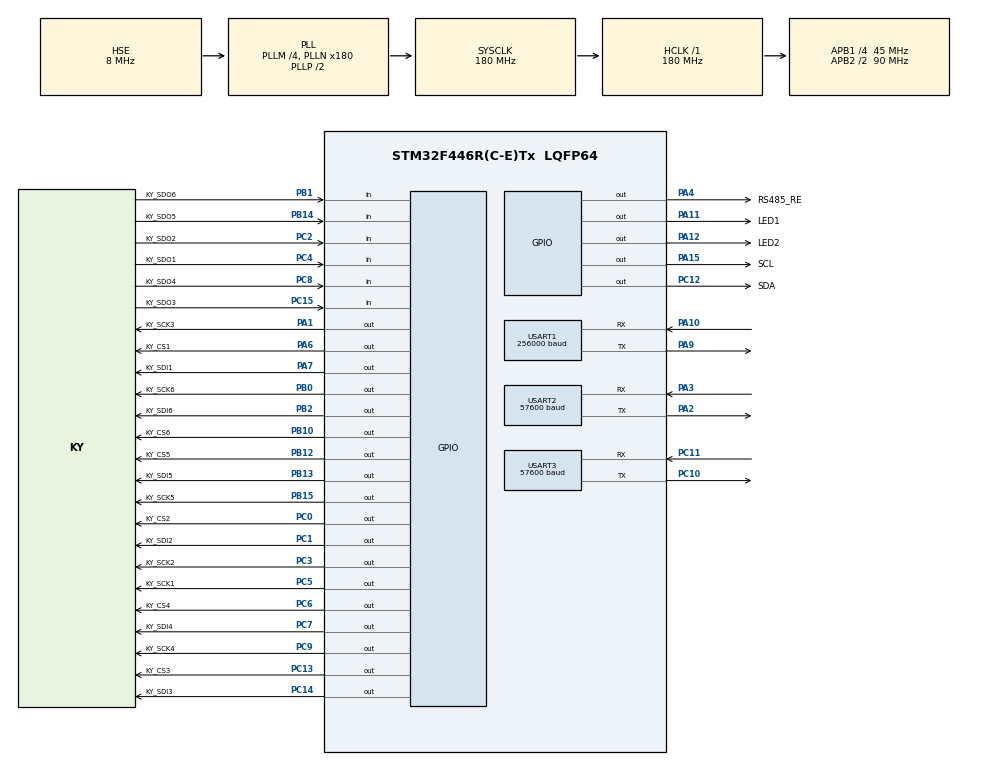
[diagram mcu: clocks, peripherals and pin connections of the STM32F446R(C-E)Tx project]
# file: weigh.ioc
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Mcu.Family=STM32F4
Mcu.Name=STM32F446R(C-E)Tx
Mcu.Package=LQFP64
NVIC.FPU_IRQn=true\:1\:0\:true\:false\:true\:true\:false\:true
NVIC.PriorityGroup=NVIC_PRIORITYGROUP_2
NVIC.TIM1_TRG_COM_TIM11_IRQn=true\:1\:2\:true\:false\:true\:true\:true\:true
NVIC.TIM1_UP_TIM10_IRQn=true\:1\:1\:true\:false\:true\:true\:true\:true
NVIC.TIM7_IRQn=true\:2\:2\:true\:false\:true\:true\:true\:true
NVIC.TIM8_TRG_COM_TIM14_IRQn=true\:3\:0\:true\:false\:true\:true\:true\:true
NVIC.TIM8_UP_TIM13_IRQn=true\:0\:3\:true\:false\:true\:true\:true\:true
NVIC.USART1_IRQn=true\:1\:0\:true\:false\:true\:true\:true\:true
NVIC.USART2_IRQn=true\:0\:2\:true\:false\:true\:true\:true\:true
NVIC.USART3_IRQn=true\:2\:2\:true\:false\:true\:true\:true\:true
PA1.GPIO_Label=KY_SCK3
PA1.GPIO_ModeDefaultOutputPP=GPIO_MODE_OUTPUT_PP
PA1.GPIO_PuPd=GPIO_PULLUP
PA1.GPIO_Speed=GPIO_SPEED_FREQ_VERY_HIGH
PA1.PinState=GPIO_PIN_SET
PA1.Signal=GPIO_Output
PA10.Mode=Asynchronous
PA10.Signal=USART1_RX
PA11.GPIO_Label=LED1
PA11.GPIO_PuPd=GPIO_PULLUP
PA11.GPIO_Speed=GPIO_SPEED_FREQ_VERY_HIGH
PA11.Signal=GPIO_Output
PA12.GPIO_Label=LED2
PA12.GPIO_ModeDefaultOutputPP=GPIO_MODE_OUTPUT_OD
PA12.GPIO_PuPd=GPIO_NOPULL
PA12.GPIO_Speed=GPIO_SPEED_FREQ_VERY_HIGH
PA12.Signal=GPIO_Output
PA13.Mode=Serial_Wire
PA13.Signal=SYS_JTMS-SWDIO
PA14.Mode=Serial_Wire
PA14.Signal=SYS_JTCK-SWCLK
PA15.GPIO_Label=SCL
PA15.GPIO_ModeDefaultOutputPP=GPIO_MODE_OUTPUT_OD
PA15.GPIO_PuPd=GPIO_NOPULL
PA15.GPIO_Speed=GPIO_SPEED_FREQ_VERY_HIGH
PA15.Signal=GPIO_Output
PA2.Mode=Asynchronous
PA2.Signal=USART2_TX
PA3.Mode=Asynchronous
PA3.Signal=USART2_RX
PA4.GPIO_Label=RS485_RE
PA4.GPIO_ModeDefaultOutputPP=GPIO_MODE_OUTPUT_PP
PA4.GPIO_PuPd=GPIO_PULLDOWN
PA4.GPIO_Speed=GPIO_SPEED_FREQ_HIGH
PA4.Signal=GPIO_Output
PA6.GPIO_Label=KY_CS1
PA6.GPIO_ModeDefaultOutputPP=GPIO_MODE_OUTPUT_PP
PA6.GPIO_PuPd=GPIO_PULLUP
PA6.GPIO_Speed=GPIO_SPEED_FREQ_VERY_HIGH
PA6.PinState=GPIO_PIN_SET
PA6.Signal=GPIO_Output
PA7.GPIO_Label=KY_SDI1
PA7.GPIO_ModeDefaultOutputPP=GPIO_MODE_OUTPUT_PP
PA7.GPIO_PuPd=GPIO_PULLUP
PA7.GPIO_Speed=GPIO_SPEED_FREQ_VERY_HIGH
PA7.PinState=GPIO_PIN_SET
PA7.Signal=GPIO_Output
PA9.Mode=Asynchronous
PA9.Signal=USART1_TX
PB0.GPIO_Label=KY_SCK6
PB0.GPIO_ModeDefaultOutputPP=GPIO_MODE_OUTPUT_PP
PB0.GPIO_PuPd=GPIO_PULLUP
PB0.GPIO_Speed=GPIO_SPEED_FREQ_VERY_HIGH
PB0.PinState=GPIO_PIN_SET
PB0.Signal=GPIO_Output
PB1.GPIO_Label=KY_SDO6
PB1.GPIO_Mode=GPIO_MODE_INPUT
PB1.GPIO_PuPd=GPIO_PULLUP
PB1.Signal=GPIO_Input
PB10.GPIO_Label=KY_CS6
PB10.GPIO_ModeDefaultOutputPP=GPIO_MODE_OUTPUT_PP
PB10.GPIO_PuPd=GPIO_PULLUP
PB10.GPIO_Speed=GPIO_SPEED_FREQ_VERY_HIGH
PB10.PinState=GPIO_PIN_SET
PB10.Signal=GPIO_Output
PB12.GPIO_Label=KY_CS5
PB12.GPIO_ModeDefaultOutputPP=GPIO_MODE_OUTPUT_PP
PB12.GPIO_PuPd=GPIO_PULLUP
PB12.GPIO_Speed=GPIO_SPEED_FREQ_VERY_HIGH
PB12.PinState=GPIO_PIN_SET
PB12.Signal=GPIO_Output
PB13.GPIO_Label=KY_SDI5
PB13.GPIO_ModeDefaultOutputPP=GPIO_MODE_OUTPUT_PP
PB13.GPIO_PuPd=GPIO_PULLUP
PB13.GPIO_Speed=GPIO_SPEED_FREQ_VERY_HIGH
PB13.PinState=GPIO_PIN_SET
PB13.Signal=GPIO_Output
PB14.GPIO_Label=KY_SDO5
PB14.GPIO_Mode=GPIO_MODE_INPUT
PB14.GPIO_PuPd=GPIO_PULLUP
PB14.Signal=GPIO_Input
PB15.GPIO_Label=KY_SCK5
PB15.GPIO_ModeDefaultOutputPP=GPIO_MODE_OUTPUT_PP
PB15.GPIO_PuPd=GPIO_PULLUP
PB15.GPIO_Speed=GPIO_SPEED_FREQ_VERY_HIGH
PB15.PinState=GPIO_PIN_SET
PB15.Signal=GPIO_Output
PB2.GPIO_Label=KY_SDI6
PB2.GPIO_ModeDefaultOutputPP=GPIO_MODE_OUTPUT_PP
PB2.GPIO_PuPd=GPIO_PULLUP
PB2.GPIO_Speed=GPIO_SPEED_FREQ_VERY_HIGH
PB2.PinState=GPIO_PIN_SET
PB2.Signal=GPIO_Output
PC0.GPIO_Label=KY_CS2
PC0.GPIO_ModeDefaultOutputPP=GPIO_MODE_OUTPUT_PP
PC0.GPIO_PuPd=GPIO_PULLUP
PC0.GPIO_Speed=GPIO_SPEED_FREQ_VERY_HIGH
PC0.PinState=GPIO_PIN_SET
PC0.Signal=GPIO_Output
PC1.GPIO_Label=KY_SDI2
PC1.GPIO_ModeDefaultOutputPP=GPIO_MODE_OUTPUT_PP
PC1.GPIO_PuPd=GPIO_PULLUP
PC1.GPIO_Speed=GPIO_SPEED_FREQ_VERY_HIGH
PC1.PinState=GPIO_PIN_SET
PC1.Signal=GPIO_Output
PC10.Mode=Asynchronous
PC10.Signal=USART3_TX
PC11.Mode=Asynchronous
PC11.Signal=USART3_RX
PC12.GPIO_Label=SDA
PC12.GPIO_ModeDefaultOutputPP=GPIO_MODE_OUTPUT_OD
PC12.GPIO_PuPd=GPIO_NOPULL
PC12.GPIO_Speed=GPIO_SPEED_FREQ_VERY_HIGH
PC12.Signal=GPIO_Output
PC13.GPIO_Label=KY_CS3
PC13.GPIO_ModeDefaultOutputPP=GPIO_MODE_OUTPUT_PP
PC13.GPIO_PuPd=GPIO_PULLUP
PC13.PinState=GPIO_PIN_SET
PC13.Signal=GPIO_Output
PC14-OSC32_IN.GPIO_Label=KY_SDI3
PC14-OSC32_IN.GPIO_ModeDefaultOutputPP=GPIO_MODE_OUTPUT_PP
PC14-OSC32_IN.GPIO_PuPd=GPIO_PULLUP
PC14-OSC32_IN.PinState=GPIO_PIN_SET
PC14-OSC32_IN.Signal=GPIO_Output
PC15-OSC32_OUT.GPIO_Label=KY_SDO3
PC15-OSC32_OUT.GPIO_Mode=GPIO_MODE_INPUT
PC15-OSC32_OUT.GPIO_PuPd=GPIO_PULLUP
PC15-OSC32_OUT.Signal=GPIO_Input
PC2.GPIO_Label=KY_SDO2
PC2.GPIO_Mode=GPIO_MODE_INPUT
PC2.GPIO_PuPd=GPIO_PULLUP
PC2.Signal=GPIO_Input
PC3.GPIO_Label=KY_SCK2
PC3.GPIO_ModeDefaultOutputPP=GPIO_MODE_OUTPUT_PP
PC3.GPIO_PuPd=GPIO_PULLUP
PC3.GPIO_Speed=GPIO_SPEED_FREQ_VERY_HIGH
PC3.PinState=GPIO_PIN_SET
PC3.Signal=GPIO_Output
PC4.GPIO_Label=KY_SDO1
PC4.GPIO_Mode=GPIO_MODE_INPUT
PC4.GPIO_PuPd=GPIO_PULLUP
PC4.Signal=GPIO_Input
PC5.GPIO_Label=KY_SCK1
PC5.GPIO_ModeDefaultOutputPP=GPIO_MODE_OUTPUT_PP
PC5.GPIO_PuPd=GPIO_PULLUP
PC5.GPIO_Speed=GPIO_SPEED_FREQ_VERY_HIGH
PC5.PinState=GPIO_PIN_SET
PC5.Signal=GPIO_Output
PC6.GPIO_Label=KY_CS4
PC6.GPIO_ModeDefaultOutputPP=GPIO_MODE_OUTPUT_PP
PC6.GPIO_PuPd=GPIO_PULLUP
PC6.GPIO_Speed=GPIO_SPEED_FREQ_VERY_HIGH
PC6.PinState=GPIO_PIN_SET
PC6.Signal=GPIO_Output
PC7.GPIO_Label=KY_SDI4
PC7.GPIO_ModeDefaultOutputPP=GPIO_MODE_OUTPUT_PP
PC7.GPIO_PuPd=GPIO_PULLUP
PC7.GPIO_Speed=GPIO_SPEED_FREQ_VERY_HIGH
PC7.PinState=GPIO_PIN_SET
PC7.Signal=GPIO_Output
PC8.GPIO_Label=KY_SDO4
PC8.GPIO_Mode=GPIO_MODE_INPUT
PC8.GPIO_PuPd=GPIO_PULLUP
PC8.Signal=GPIO_Input
PC9.GPIO_Label=KY_SCK4
PC9.GPIO_ModeDefaultOutputPP=GPIO_MODE_OUTPUT_PP
PC9.GPIO_PuPd=GPIO_PULLUP
PC9.GPIO_Speed=GPIO_SPEED_FREQ_VERY_HIGH
PC9.PinState=GPIO_PIN_SET
PC9.Signal=GPIO_Output
PH0-OSC_IN.Mode=HSE-External-Oscillator
PH0-OSC_IN.Signal=RCC_OSC_IN
PH1-OSC_OUT.Mode=HSE-External-Oscillator
PH1-OSC_OUT.Signal=RCC_OSC_OUT
ProjectManager.HeapSize=0x400
ProjectManager.StackSize=0x800
ProjectManager.TargetToolchain=MDK-ARM V5.32
RCC.AHBFreq_Value=180000000
RCC.APB1CLKDivider=RCC_HCLK_DIV4
RCC.APB1Freq_Value=45000000
RCC.APB1TimFreq_Value=90000000
RCC.APB2CLKDivider=RCC_HCLK_DIV2
RCC.APB2Freq_Value=90000000
RCC.APB2TimFreq_Value=180000000
RCC.CortexFreq_Value=180000000
RCC.HCLKFreq_Value=180000000
RCC.HSE_VALUE=8000000
RCC.PLLM=4
RCC.PLLN=180
RCC.PLLSourceVirtual=RCC_PLLSOURCE_HSE
RCC.SYSCLKFreq_VALUE=180000000
RCC.SYSCLKSource=RCC_SYSCLKSOURCE_PLLCLK
RCC.USBFreq_Value=180000000
RCC.VCOOutputFreq_Value=360000000
STMicroelectronics.X-CUBE-ALGOBUILD.1.3.0.LibraryCcDSPOoLibraryJjDSPOoLibrary=true
TIM10.AutoReloadPreload=TIM_AUTORELOAD_PRELOAD_ENABLE
TIM10.Period=20000-1
TIM10.Prescaler=180-1
TIM11.AutoReloadPreload=TIM_AUTORELOAD_PRELOAD_ENABLE
TIM11.Period=5000-1
TIM11.Prescaler=180-1
TIM13.AutoReloadPreload=TIM_AUTORELOAD_PRELOAD_ENABLE
TIM13.Period=10-1
TIM13.Prescaler=90-1
TIM14.AutoReloadPreload=TIM_AUTORELOAD_PRELOAD_ENABLE
TIM14.Period=1000-1
TIM14.Prescaler=9000-1
TIM7.AutoReloadPreload=TIM_AUTORELOAD_PRELOAD_ENABLE
TIM7.Period=100-1
TIM7.Prescaler=1800-1
USART1.BaudRate=256000
USART1.VirtualMode=VM_ASYNC
USART2.BaudRate=57600
USART2.StopBits=STOPBITS_2
USART2.VirtualMode=VM_ASYNC
USART3.BaudRate=57600
USART3.StopBits=STOPBITS_2
USART3.VirtualMode=VM_ASYNC
VP_STMicroelectronics.X-CUBE-ALGOBUILD_VS_DSPOoLibraryJjLibrary_1.3.0_1.3.0.Mode=DSPOoLibraryJjLibrary
VP_TIM10_VS_ClockSourceINT.Mode=Enable_Timer
VP_TIM11_VS_ClockSourceINT.Mode=Enable_Timer
VP_TIM13_VS_ClockSourceINT.Mode=Enable_Timer
VP_TIM14_VS_ClockSourceINT.Mode=Enable_Timer
VP_TIM7_VS_ClockSourceINT.Mode=Enable_Timer
board=custom

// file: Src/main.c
/* USER CODE BEGIN Header */
/**
  ******************************************************************************
  * @file           : main.c
  * @brief          : Main program body
  ******************************************************************************
  * @attention
  *
  * Copyright (c) 2023 STMicroelectronics.
  * All rights reserved.
  *
  * This software is licensed under terms that can be found in the LICENSE file
  * in the root directory of this software component.
  * If no LICENSE file comes with this software, it is provided AS-IS.
  *
  ******************************************************************************
  */
/* USER CODE END Header */
#include "main.h"
#include "tim.h"
#include "usart.h"
#include "gpio.h"

/* USER CODE BEGIN Includes */
#include "rs485.h"
#include "modbus.h"
#include "KY5532.h"
#include "protocol.h"
#include "my_uart.h"
#include "control.h"
#include "kalman.h"
#include "measure.h"
#include "arm_math.h"
#include "arm_const_structs.h"
#include "iir.h"
/* USER CODE END Includes */

/* USER CODE BEGIN PTD */
void delay_us(__IO uint32_t delay);
/* USER CODE END PTD */

void SystemClock_Config(void);

/* USER CODE BEGIN 0 */
extern uint8_t Flag_of_Modbus_Ok;

uint8_t lvbocanshu =4;

uint16_t junzhi_num;

float32_t KY1_ACC,KY2_ACC,KY3_ACC,KY4_ACC,KY5_ACC,KY6_ACC;									/*累计值*/
float32_t KY1_ave,KY2_ave,KY3_ave,KY4_ave,KY5_ave,KY6_ave;									/*平均值*/
float32_t KY1_cal,KY2_cal,KY3_cal,KY4_cal,KY5_cal,KY6_cal;									/*克重值*/
int32_t   KY1_mod,KY2_mod,KY3_mod,KY4_mod,KY5_mod,KY6_mod;									/*寄存器值*/
float32_t KY1_printf,KY2_printf,KY3_printf,KY4_printf,KY5_printf,KY6_printf;				/*打印值*/
uint8_t   KY1_warning,KY2_warning,KY3_warning,KY4_warning,KY5_warning,KY6_warning;			/*超量程警告*/
uint8_t   KY1_runing,KY2_runing,KY3_runing,KY4_runing,KY5_runing,KY6_runing;				/*动态=1 与 稳态=0*/
uint8_t   KY1_qvpi,KY2_qvpi,KY3_qvpi,KY4_qvpi,KY5_qvpi,KY6_qvpi;							/*去皮标志位*/
uint8_t   KY1_biaoding,KY2_biaoding,KY3_biaoding,KY4_biaoding,KY5_biaoding,KY6_biaoding;	/*标定标志位*/
float32_t measure_value1,measure_value2,measure_value3,measure_value4,measure_value5,measure_value6;/*重量零位*/
float32_t KY1_xishu,KY2_xishu,KY3_xishu,KY4_xishu,KY5_xishu,KY6_xishu;						/*传感器系数*/

uint16_t stable_scope;	//稳定范围	0-100，单位d
uint16_t stable_time;	//稳定时间 	1-500，单位0.01秒
uint16_t dyna_scope;	//动态范围	0-100，单位d
uint16_t dyna_time;		//动态时间	1-50，单位0.1秒
uint16_t BaudRate_485;	//485波特率		0-6，0：2400，1：4800：2：9600，3：19200，4：38400，5：57600
uint16_t data_485;		//485数据格式	0-5，0：7E1， 1：7O1 ，2：8N1 ，3：8N2 ，4：8E1，5：8O1
uint16_t slave_address_485 = 0x02;//485从站地址		0-255

/* USER CODE END 0 */

int main(void)
{
  /* USER CODE BEGIN 1 */

//	int32_t sum_iii = 0x11;

  /* USER CODE END 1 */

  /* MCU Configuration--------------------------------------------------------*/

  /* Reset of all peripherals, Initializes the Flash interface and the Systick. */
  HAL_Init();

  /* Configure the system clock */
  SystemClock_Config();

  /* Initialize all configured peripherals */
  MX_GPIO_Init();
  MX_USART1_UART_Init();
  MX_USART2_UART_Init();
  MX_USART3_UART_Init();
  MX_TIM13_Init();
  MX_TIM14_Init();
  MX_TIM11_Init();
  MX_TIM10_Init();
  MX_TIM7_Init();
  /* USER CODE BEGIN 2 */
  HAL_TIM_Base_Stop_IT(&htim13); //停止定时器的时候调用这个函数关闭;	//modbus_time		--100000khz--10us
/*初始化RS485*/
	HAL_GPIO_WritePin(RS485_RE_GPIO_Port,RS485_RE_Pin,GPIO_PIN_RESET);//设置为接收模式//高电平32发送低电平32接收
/*初始化ky5530*/
	KY5530_ALL_Init();//!!!!!!!!!!!!!!
/*初始化kalman*/
/*
R值固定，Q值越大，代表越信任测量值，Q值无穷大，代表只用测量值。
Q值越小，代表越信任模型预测值，Q值为0，代表只用模型预测值。
Q:过程噪声，Q增大，动态响应变快，收敛稳定性变坏
R:测量噪声，R增大，动态响应变慢，收敛稳定性变好
*/
	kalman_ALL_init();//!!!!!!!!!!!!!!
/*初始化上位机*/
	protocol_init();//在线调试初始化
	#if fire_debug
		SendPacket_PID(Channal01Address1Byte, KY1_Kalman.q ,KY1_Kalman.r, 1 ,USART1);
	#endif
/*需要一次计算*/
	control_ky5532_readADC(1);
	control_ky5532_readADC(2);
	control_ky5532_readADC(3);
	control_ky5532_readADC(4);
	control_ky5532_readADC(5);
	control_ky5532_readADC(6);
//	kalman_filter(&KY1_Kalman,ky1_value);
//	kalman_filter(&KY2_Kalman,ky2_value);
//	kalman_filter(&KY3_Kalman,ky3_value);
//	kalman_filter(&KY4_Kalman,ky4_value);
//	kalman_filter(&KY5_Kalman,ky5_value);
//	kalman_filter(&KY6_Kalman,ky6_value);
/*IIR滤波器初始化*/
	arm_iir_all_init();//!!!!!!!!!!!!!!
	HAL_Delay(10);
	HAL_TIM_Base_Start_IT(&htim10);//开启TIM10		200hz	一定要晚开启

	measure_flag = 1;
	HAL_Delay(500);
//	HAL_TIM_Base_Start_IT(&htim11);//开启TIM11	/*均值滤波*/	200hz
	HAL_TIM_Base_Start_IT(&htim7);//开启TIM7	/*调试*/	3hz				//uart_printf
//	HAL_TIM_Base_Start_IT(&htim14); //使用定时器的时候调用这个函数E;	//10hz
  /* USER CODE END 2 */

  /* Infinite loop */
  /* USER CODE BEGIN WHILE */

  /*ky5530	1800hz
	tim10	1500hz
	printf	1000hz
  */
	float datas[5];
	uint8_t frameNameHead[] = "AABBCC";
	uint8_t frameNameEnd[] = "CCBBAA";

	//定义数据帧头帧尾
	uint8_t frameDataHead[] = "DDEEFF";
	uint8_t frameDataEnd[] = "FFEEDD";

	//定义通道名
	uint8_t name[] = {"ch1"};

	//赋值数据

	//通过串口1，向上位机发送数据

	float tare_weight1;
	float actual_weight1;
	float tare_weight2;
	float actual_weight2;
	float tare_weight3;
	float actual_weight3;
	float trans_coef;
	uint8_t tx[24] = {0};
	//uint32_t tare[1000] = {};
//	uint32_t sum=0;
//	for (int i = 0; i < 100; i++)
//	{
//		control_ky5532_readADC(1);
//		sum+=ky1_value;
//		printf("%d\r\n",ky1_value);
//	}
//	tare_weight=sum/100;
//	printf("%f\r\n",tare_weight);

		control_ky5532_readADC(1);
	  test_Kalman.x = ky1_value;
    test_Kalman.p = 1000;
    test_Kalman.A = 1;
    test_Kalman.H = 1;
    test_Kalman.q = 0.01f;
    test_Kalman.r = 800.0f;
//	while(1)
//	{
//		control_ky5532_readADC(1);
//		control_ky5532_readADC(2);
//		control_ky5532_readADC(3);
//		printf("1= %d\r\n",ky1_value);
//		printf("2= %d\r\n",ky2_value);
//		printf("3= %d\r\n",ky3_value);
//	}

	for (int i = 0; i < 7000; i++)
	{
		control_ky5532_readADC(1);
		kalman_filter(&test_Kalman,meanFilter2(ky1_value));
		if(i==6999)
		{
			tare_weight1=(float)kalman_filter(&test_Kalman,meanFilter2(ky1_value));
		}
	}

//  while(1)
//	{
//		control_ky5532_readADC(1);
////		control_ky5532_readADC(2);
////		control_ky5532_readADC(3);
////		actual_weight1=((float)kalman_filter(&test_Kalman,meanFilter2(ky1_value))-tare_weight1)/2834;
////		actual_weight=(ky1_value-tare_weight)/2834;
////		trans_coef=actual_weight/150;
////		printf("%f\r\n",actual_weight);
//
////		  printf("\r\n");
////			printf("1 = %d\r\n",ky1_value);
////				control_ky5532_readADC(1);
//
////				control_ky5532_readADC(1);
////				datas[0] = (float)ky1_value;//
////				datas[1] = (float)meanFilter(ky1_value);//
////				datas[2] = (float)kalman_filter(&KY1_Kalman,ky1_value);//
//////				datas[3] = update_akf(&akf, ky1_value, 1, 1);
//////				datas[3] = update_sage_husa(&filter,ky1_value,1,1);
////				datas[3] = (float)kalman_filter(&KY2_Kalman,meanFilter(ky1_value));//kalman avg
//////				datas[4] = (float)kalman_filter(&KY4_Kalman,kalman_filter(&KY3_Kalman,ky1_value));//kalman kalman
//////		    datas[4] = (float)meanFilter(kalman_filter(&KY2_Kalman,meanFilter(ky1_value)));//avg kalman avg
//
////		  datas[0] = (float)ky1_value;//
////			datas[1] = (float)meanFilter(ky1_value);//
////			datas[2] = (float)meanFilter1(ky1_value);
////			datas[3] = (float)meanFilter2(ky1_value);
////			datas[4] = (float)meanFilter3(ky1_value);
//
////		  datas[0] = (float)ky1_value;//
////			datas[1] = (float)kalman_filter(&test1_Kalman,ky1_value);
////			datas[2] = (float)kalman_filter(&test2_Kalman,ky1_value);
////			datas[3] = (float)kalman_filter(&test3_Kalman,ky1_value);
////			datas[4] = (float)kalman_filter(&test4_Kalman,ky1_value);

////			datas[0] = (float)ky1_value;//
////			datas[1] = (float)meanFilter2(ky1_value);
////			datas[2] = (float)kalman_filter(&KY1_Kalman,ky1_value);
////			datas[3] = (float)kalman_filter(&KY2_Kalman,meanFilter2(ky1_value));

//			datas[0] = ((float)kalman_filter(&test_Kalman,meanFilter2(ky1_value))-tare_weight1)/2834;
////			datas[1] = ((float)kalman_filter(&test_Kalman,meanFilter2(ky2_value))-tare_weight2)/2834;
////			datas[2] = ((float)kalman_filter(&test_Kalman,meanFilter2(ky3_value))-tare_weight3)/2834;
//
//			HAL_UART_Transmit(&huart1,frameNameHead,sizeof(frameNameHead)-1,1000);//
//			HAL_UART_Transmit(&huart1,name,sizeof(name)-1,1000);//
//			HAL_UART_Transmit(&huart1,frameNameEnd,sizeof(frameNameEnd)-1,1000);//
//
//			HAL_UART_Transmit(&huart1,frameDataHead,sizeof(frameDataHead)-1,1000);//
//			HAL_UART_Transmit(&huart1,(uint8_t*)datas,sizeof(datas),2000);//
//			HAL_UART_Transmit(&huart1,frameDataEnd,sizeof(frameDataEnd)-1,1000);//
//
////	  	last=ky1_value;
//
//
////		  KY5532_Get_ADCVal_once(0, &ky1_value);
//
////			control_ky5532_readADC(1);
////			printf("%d\r\n",ky1_value);
//
//
//
//
//
//
////			HAL_Delay(1);
////			control_ky5532_readADC(2);
////			printf("%d\r\n",ky2_value);
//	}

////while(1)
////{
////	for (int i = 0; i < 8; i++)
////	{
////		printf("%d\r\n",RS485_RX_BUF[i]);
////	}
////}

  while (1)
  {
			control_ky5532_readADC(1);
			actual_weight1=((float)kalman_filter(&test_Kalman,meanFilter2(ky1_value))-tare_weight1)/2836;
			printf("%f\r\n",actual_weight1);

	  modbus_virtual_register[0]  = (uint16_t)(KY1_mod&0x0000FFFF);
	  modbus_virtual_register[1]  = (KY1_mod&0xFFFF0000)>>16;
	  modbus_virtual_register[2]  = (uint16_t)(KY2_mod&0x0000FFFF);;
	  modbus_virtual_register[3]  = (KY2_mod&0xFFFF0000)>>16;
	  modbus_virtual_register[4]  = (uint16_t)(KY3_mod&0x0000FFFF);;
	  modbus_virtual_register[5]  = (KY3_mod&0xFFFF0000)>>16;
	  modbus_virtual_register[6]  = (uint16_t)(KY4_mod&0x0000FFFF);;
	  modbus_virtual_register[7]  = (KY4_mod&0xFFFF0000)>>16;
	  modbus_virtual_register[8]  = (KY1_runing << 13) | (0x3 << 8) | modbus_slave_addr;
	  modbus_virtual_register[9]  =  KY1_warning << 7;
	  modbus_virtual_register[10] = (KY2_runing << 13) | (0x3 << 8) | modbus_slave_addr;
	  modbus_virtual_register[11] =  KY2_warning << 7;
	  modbus_virtual_register[12] = (KY3_runing << 13) | (0x3 << 8) | modbus_slave_addr;
	  modbus_virtual_register[13] =  KY3_warning << 7;
	  modbus_virtual_register[14] = (KY4_runing << 13) | (0x3 << 8) | modbus_slave_addr;
	  modbus_virtual_register[15] =  KY4_warning << 7;
	  modbus_virtual_register[16] = (uint16_t)(KY5_mod&0x0000FFFF);;
	  modbus_virtual_register[17] = (KY5_mod&0xFFFF0000)>>16;
	  modbus_virtual_register[18] = (uint16_t)(KY6_mod&0x0000FFFF);;
	  modbus_virtual_register[19] = (KY6_mod&0xFFFF0000)>>16;
	  modbus_virtual_register[20] = (KY5_runing << 13) | (0x3 << 8) | modbus_slave_addr;
	  modbus_virtual_register[21] =  KY5_warning << 7;
	  modbus_virtual_register[22] = (KY6_runing << 13) | (0x3 << 8) | modbus_slave_addr;
	  modbus_virtual_register[23] =  KY6_warning << 7;
//	  if(modbus_virtual_register[510] == 0x1)//1号清零
//	  {
//		  KY1_qvpi = 1;
//		  modbus_virtual_register[510] = 0;
//	  }
//	  if(modbus_virtual_register[510] == 0x2)//1号去皮
//	  {
//
//		  modbus_virtual_register[510] = 0;
//	  }
//	  if(modbus_virtual_register[510] == 0x4)//1号清皮
//	  {
//		  modbus_virtual_register[510] = 0;
//	  }
//	  if(modbus_virtual_register[511] == 0x1)//1号零位标定
//	  {
//		  KY1_biaoding = 1;
//		  modbus_virtual_register[511] = 0;
//	  }
//	  modbus_virtual_register[512] = 0;
//	  if(modbus_virtual_register[513] != 0)
//	  {
//		  lvbocanshu = modbus_virtual_register[513];
//		  all_Init_gain();
//		  modbus_virtual_register[513] = 0;
//	  }
//
//
//
//	  if(modbus_virtual_register[514] == 0x1)//2号清零
//	  {
//		  KY2_qvpi = 1;
//		  modbus_virtual_register[514] = 0;
//	  }
//	  if(modbus_virtual_register[514] == 0x2)//2号去皮
//	  {
//
//		  modbus_virtual_register[514] = 0;
//	  }
//	  if(modbus_virtual_register[514] == 0x4)//2号清皮
//	  {
//		  modbus_virtual_register[514] = 0;
//	  }
//	  if(modbus_virtual_register[515] == 0x1)//2号零位标定
//	  {
//		  KY2_biaoding = 1;
//		  modbus_virtual_register[515] = 0;
//	  }
//	  modbus_virtual_register[516] = 0;
//	  if(modbus_virtual_register[517] != 0)
//	  {
//		  lvbocanshu = modbus_virtual_register[517];
//		  all_Init_gain();
//		  modbus_virtual_register[517] = 0;
//	  }
//
//
//	  if(modbus_virtual_register[518] == 0x1)//3号清零
//	  {
//		  KY3_qvpi = 1;
//		  modbus_virtual_register[518] = 0;
//	  }
//	  if(modbus_virtual_register[518] == 0x2)//3号去皮
//	  {
//
//		  modbus_virtual_register[518] = 0;
//	  }
//	  if(modbus_virtual_register[518] == 0x4)//3号清皮
//	  {
//		  modbus_virtual_register[518] = 0;
//	  }
//	  if(modbus_virtual_register[519] == 0x1)//3号零位标定
//	  {
//		  KY3_biaoding = 1;
//		  modbus_virtual_register[519] = 0;
//	  }
//	  modbus_virtual_register[520] = 0;
//	  if(modbus_virtual_register[521] != 0)
//	  {
//		  lvbocanshu = modbus_virtual_register[521];
//		  all_Init_gain();
//		  modbus_virtual_register[521] = 0;
//	  }
//
//
//	  if(modbus_virtual_register[522] == 0x1)//4号清零
//	  {
//		  KY4_qvpi = 1;
//		  modbus_virtual_register[522] = 0;
//	  }
//	  if(modbus_virtual_register[522] == 0x2)//4号去皮
//	  {
//
//		  modbus_virtual_register[522] = 0;
//	  }
//	  if(modbus_virtual_register[522] == 0x4)//4号清皮
//	  {
//		  modbus_virtual_register[522] = 0;
//	  }
//	  if(modbus_virtual_register[523] == 0x1)//4号零位标定
//	  {
//		  KY4_biaoding = 1;
//		  modbus_virtual_register[523] = 0;
//	  }
//	  modbus_virtual_register[524] = 0;
//	  if(modbus_virtual_register[525] != 0)
//	  {
//		  lvbocanshu = modbus_virtual_register[525];
//		  all_Init_gain();
//		  modbus_virtual_register[525] = 0;
//	  }
//
//
//	  if(modbus_virtual_register[526] == 0x1)//5号清零
//	  {
//		  KY5_qvpi = 1;
//		  modbus_virtual_register[526] = 0;
//	  }
//	  if(modbus_virtual_register[526] == 0x2)//5号去皮
//	  {
//
//		  modbus_virtual_register[526] = 0;
//	  }
//	  if(modbus_virtual_register[526] == 0x4)//5号清皮
//	  {
//		  modbus_virtual_register[526] = 0;
//	  }
//	  if(modbus_virtual_register[527] == 0x1)//5号零位标定
//	  {
//		  KY5_biaoding = 1;
//		  modbus_virtual_register[527] = 0;
//	  }
//	  modbus_virtual_register[528] = 0;
//	  if(modbus_virtual_register[529] != 0)
//	  {
//		  lvbocanshu = modbus_virtual_register[529];
//		  all_Init_gain();
//		  modbus_virtual_register[529] = 0;
//	  }
//
//
//	  if(modbus_virtual_register[530] == 0x1)//6号清零
//	  {
//		  KY6_qvpi = 1;
//		  modbus_virtual_register[530] = 0;
//	  }
//	  if(modbus_virtual_register[530] == 0x2)//6号去皮
//	  {
//
//		  modbus_virtual_register[530] = 0;
//	  }
//	  if(modbus_virtual_register[530] == 0x4)//6号清皮
//	  {
//		  modbus_virtual_register[530] = 0;
//	  }
//	  if(modbus_virtual_register[531] == 0x1)//6号零位标定
//	  {
//		  KY6_biaoding = 1;
//		  modbus_virtual_register[531] = 0;
//	  }
//	  modbus_virtual_register[532] = 0;
//	  if(modbus_virtual_register[533] != 0)
//	  {
//		  lvbocanshu = modbus_virtual_register[533];
//		  all_Init_gain();
//		  modbus_virtual_register[533] = 0;
//	  }
//
//
//	  stable_scope = modbus_virtual_register[536];		//稳定范围	0-100，单位d
//	  stable_time  = modbus_virtual_register[537];		//稳定时间 	1-500，单位0.01秒
//	  stable_time  = modbus_virtual_register[538];		//动态范围	0-100，单位d;
//	  dyna_time    = modbus_virtual_register[539];		//动态时间	1-50，单位0.1秒
//	  BaudRate_485 = modbus_virtual_register[540];		//485波特率		0-6，0：2400，1：4800：2：9600，3：19200，4：38400，5：57600
//	  data_485 	   = modbus_virtual_register[541];		//485数据格式	0-5，0：7E1， 1：7O1 ，2：8N1 ，3：8N2 ，4：8E1，5：8O1
//	  slave_address_485 = modbus_virtual_register[542];	//485从站地址		0-255
////		printf("stable_scope =%d\r\n",BaudRate_485);
//	  if(slave_address_485 != modbus_slave_addr)
//	  {
//		  modbus_slave_addr = slave_address_485;//更新完成
//		  //!!!添加保存eeprom
//	  }

		HAL_GPIO_TogglePin(LED2_GPIO_Port,LED2_Pin);

//		KY1_cal = (((KY1_ave)-measure_value1)/KY1_xishu);
			KY1_cal = actual_weight1;
//		KY2_cal = (((KY2_ave)-measure_value2)/KY2_xishu);
//		KY3_cal = (((KY3_ave)-measure_value3)/KY3_xishu);
//		KY4_cal = (((KY4_ave)-measure_value4)/KY4_xishu);
//		KY5_cal = (((KY5_ave)-measure_value5)/KY5_xishu);
//		KY6_cal = (((KY6_ave)-measure_value6)/KY6_xishu);
//		if(fabs(KY1_cal) < 0.1)	KY1_printf = KY1_cal*0.3f;
//		else						KY1_printf = KY1_cal;
//		if(fabs(KY2_cal) < 0.1)	KY2_printf = KY2_cal*0.3f;
//		else						KY2_printf = KY2_cal;
//		if(fabs(KY3_cal) < 0.1)	KY3_printf = KY3_cal*0.3f;
//		else						KY3_printf = KY3_cal;
//		if(fabs(KY4_cal) < 0.1)	KY4_printf = KY4_cal*0.3f;
//		else						KY4_printf = KY4_cal;
//		if(fabs(KY5_cal) < 0.1)	KY5_printf = KY5_cal*0.3f;
//		else						KY5_printf = KY5_cal;
//		if(fabs(KY6_cal) < 0.1)	KY6_printf = KY6_cal*0.3f;
//		else						KY6_printf = KY6_cal;
		KY1_printf = KY1_cal;
		KY2_printf = KY2_cal;
		KY3_printf = KY3_cal;
		KY4_printf = KY4_cal;
		KY5_printf = KY5_cal;
    KY6_printf = KY6_cal;

		KY1_mod = (int32_t)(KY1_printf*1000);
		KY2_mod = (int32_t)(KY2_printf*1000);
		KY3_mod = (int32_t)(KY3_printf*1000);
		KY4_mod = (int32_t)(KY4_printf*1000);
		KY5_mod = (int32_t)(KY5_printf*1000);
		KY6_mod = (int32_t)(KY6_printf*1000);
//		modbus_03_function();
//modbus_service();
    /* USER CODE END WHILE */

    /* USER CODE BEGIN 3 */

	#if printf_debug

	  if(measure_flag == 1)
	  {
			measure_value1 = KY1_ave;
			measure_value2 = KY2_ave;
			measure_value3 = KY3_ave;
			measure_value4 = KY4_ave;
			measure_value5 = KY5_ave;
			measure_value6 = KY6_ave;

			//发送基准值
			printf("\r\n");
			printf("1 = %8.2f\r\n",measure_value1);
			printf("2 = %8.2f\r\n",measure_value2);
			printf("3 = %8.2f\r\n",measure_value3);
			printf("4 = %8.2f\r\n",measure_value4);
			printf("5 = %8.2f\r\n",measure_value5);
			printf("6 = %8.2f\r\n",measure_value6);
			printf("\r\n");
			measure_flag = 0;
	  }
	  else
	  {

	  }

	  #endif

	#if fire_debug
		receiving_process();
	#endif
  }
  /* USER CODE END 3 */
}

void SystemClock_Config(void)
{
  RCC_OscInitTypeDef RCC_OscInitStruct = {0};
  RCC_ClkInitTypeDef RCC_ClkInitStruct = {0};

  /** Configure the main internal regulator output voltage
  */
  __HAL_RCC_PWR_CLK_ENABLE();
  __HAL_PWR_VOLTAGESCALING_CONFIG(PWR_REGULATOR_VOLTAGE_SCALE1);

  /** Initializes the RCC Oscillators according to the specified parameters
  * in the RCC_OscInitTypeDef structure.
  */
  RCC_OscInitStruct.OscillatorType = RCC_OSCILLATORTYPE_HSE;
  RCC_OscInitStruct.HSEState = RCC_HSE_ON;
  RCC_OscInitStruct.PLL.PLLState = RCC_PLL_ON;
  RCC_OscInitStruct.PLL.PLLSource = RCC_PLLSOURCE_HSE;
  RCC_OscInitStruct.PLL.PLLM = 4;
  RCC_OscInitStruct.PLL.PLLN = 180;
  RCC_OscInitStruct.PLL.PLLP = RCC_PLLP_DIV2;
  RCC_OscInitStruct.PLL.PLLQ = 2;
  RCC_OscInitStruct.PLL.PLLR = 2;
  if (HAL_RCC_OscConfig(&RCC_OscInitStruct) != HAL_OK)
  {
    Error_Handler();
  }

  /** Activate the Over-Drive mode
  */
  if (HAL_PWREx_EnableOverDrive() != HAL_OK)
  {
    Error_Handler();
  }

  /** Initializes the CPU, AHB and APB buses clocks
  */
  RCC_ClkInitStruct.ClockType = RCC_CLOCKTYPE_HCLK|RCC_CLOCKTYPE_SYSCLK
                              |RCC_CLOCKTYPE_PCLK1|RCC_CLOCKTYPE_PCLK2;
  RCC_ClkInitStruct.SYSCLKSource = RCC_SYSCLKSOURCE_PLLCLK;
  RCC_ClkInitStruct.AHBCLKDivider = RCC_SYSCLK_DIV1;
  RCC_ClkInitStruct.APB1CLKDivider = RCC_HCLK_DIV4;
  RCC_ClkInitStruct.APB2CLKDivider = RCC_HCLK_DIV2;

  if (HAL_RCC_ClockConfig(&RCC_ClkInitStruct, FLASH_LATENCY_5) != HAL_OK)
  {
    Error_Handler();
  }
}

/* USER CODE BEGIN 4 */
#define CPU_FREQUENCY_MHZ    180		// STM32滴答定时器的时钟主频
void delay_us(__IO uint32_t delay)
{
    int last, curr, val;
    int temp;

    while (delay != 0)
    {
        temp = delay > 900 ? 900 : delay;
        last = SysTick->VAL;
        curr = last - CPU_FREQUENCY_MHZ * temp;
        if (curr >= 0)
        {
            do
            {
                val = SysTick->VAL;
            }
            while ((val < last) && (val >= curr));
        }
        else
        {
            curr += CPU_FREQUENCY_MHZ * 1000;
            do
            {
                val = SysTick->VAL;
            }
            while ((val <= last) || (val > curr));
        }
        delay -= temp;
    }
}

void all_Init_gain(void)
{
	HAL_TIM_Base_Stop_IT(&htim10);
	HAL_TIM_Base_Stop_IT(&htim11);
	MX_TIM11_Init();//!!!!!!!!!!!!!!
	MX_TIM10_Init();//!!!!!!!!!!!!!!
	KY5530_ALL_Init();//!!!!!!!!!!!!!!
	kalman_ALL_init();//!!!!!!!!!!!!!!
	arm_iir_all_init();//!!!!!!!!!!!!!!
	HAL_TIM_Base_Start_IT(&htim10);
	HAL_TIM_Base_Start_IT(&htim11);
}

/* USER CODE END 4 */

void Error_Handler(void)
{
  __disable_irq();
  while (1)
  {
  }
}
